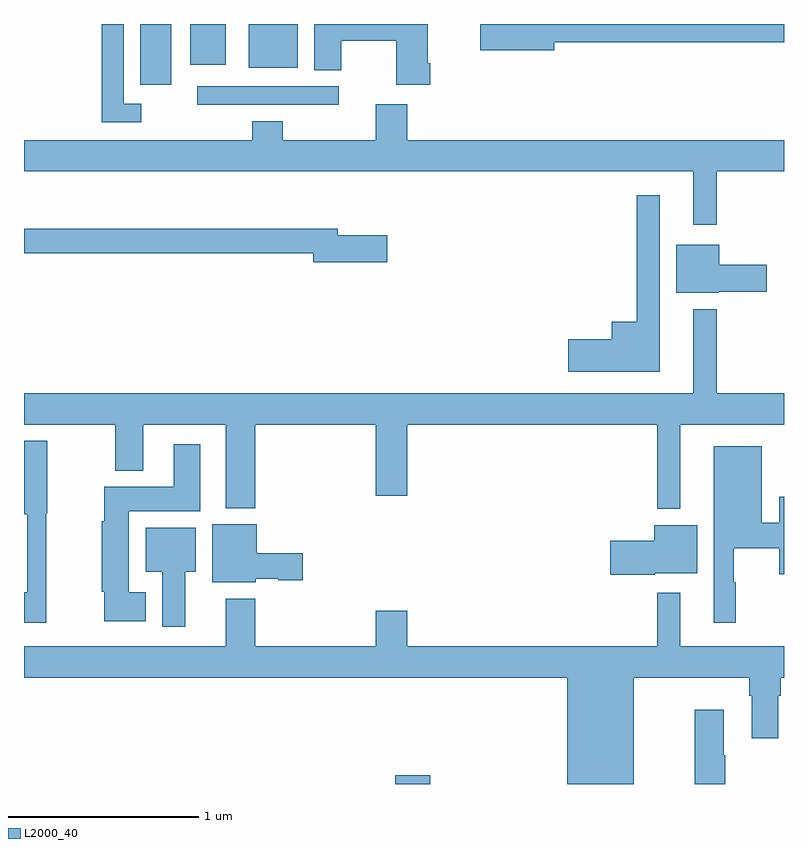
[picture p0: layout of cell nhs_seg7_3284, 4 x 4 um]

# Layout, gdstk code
import gdstk
lib = gdstk.Library(unit=1e-6, precision=1e-09)
def R(c, l, rs):  # rectangles x0, y0, x1, y1
    for r in rs: c.add(gdstk.rectangle(r[:2], r[2:], *l))
def P(c, l, *ps):  # polygons
    for p in ps: c.add(gdstk.Polygon(p, *l))
L2000_40 = (2000, 40)

nhs_seg7_3284 = lib.new_cell('nhs_seg7_3284')
R(nhs_seg7_3284, L2000_40, [(320.954,1056,321.137,1056.046), (319.911,1059.576,320.656,1059.672), (319.613,1059.681,319.774,1060), (320.183,1059.77,320.44,1060), (319.874,1059.785,320.062,1060)])
P(nhs_seg7_3284, L2000_40, [(319.618,1059.579),(319.524,1059.579),(319.524,1060),(319.408,1060),(319.408,1059.483),(319.618,1059.483)],
  [(321.137,1059.793),(321.124,1059.793),(321.124,1060),(320.528,1060),(320.528,1059.757),(320.67,1059.757),(320.67,1059.912),(320.959,1059.912),(320.959,1059.681),(321.137,1059.681)],
  [(321.79,1059.904),(323,1059.904),(323,1060),(321.402,1060),(321.402,1059.862),(321.79,1059.862)],
  [(322.645,1059.224),(323,1059.224),(323,1059.388),(321.016,1059.388),(321.016,1059.577),(320.852,1059.577),(320.852,1059.388),(320.361,1059.388),(320.361,1059.487),(320.201,1059.487),(320.201,1059.388),(319,1059.388),(319,1059.224),(322.523,1059.224),(322.523,1058.943),(322.645,1058.943)],
  [(322.345,1059.1),(322.224,1059.1),(322.224,1058.434),(322.094,1058.434),(322.094,1058.342),(321.864,1058.342),(321.864,1058.171),(322.345,1058.171)],
  [(320.911,1058.889),(320.65,1058.889),(320.65,1058.923),(319,1058.923),(319,1058.794),(320.522,1058.794),(320.522,1058.747),(320.911,1058.747)],
  [(322.656,1058.591),(322.909,1058.591),(322.909,1058.733),(322.66,1058.733),(322.66,1058.839),(322.433,1058.839),(322.433,1058.585),(322.656,1058.585)],
  [(322.453,1057.892),(323,1057.892),(323,1058.056),(322.645,1058.056),(322.645,1058.5),(322.523,1058.5),(322.523,1058.056),(319,1058.056),(319,1057.892),(319.48,1057.892),(319.48,1057.649),(319.627,1057.649),(319.627,1057.892),(320.063,1057.892),(320.063,1057.451),(320.216,1057.451),(320.216,1057.892),(320.852,1057.892),(320.852,1057.518),(321.016,1057.518),(321.016,1057.892),(322.332,1057.892),(322.332,1057.448),(322.453,1057.448)],
  [(319.118,1057.425),(319.122,1057.425),(319.122,1057.807),(319,1057.807),(319,1057.421),(319.017,1057.421),(319.017,1057.009),(319,1057.009),(319,1056.849),(319.118,1056.849)],
  [(319.642,1057.009),(319.552,1057.009),(319.552,1057.436),(319.927,1057.436),(319.927,1057.789),(319.787,1057.789),(319.787,1057.564),(319.423,1057.564),(319.423,1057.383),(319.409,1057.383),(319.409,1057.011),(319.423,1057.011),(319.423,1056.857),(319.642,1056.857)],
  [(322.745,1057.062),(322.735,1057.062),(322.735,1057.24),(322.976,1057.24),(322.976,1057.103),(323,1057.103),(323,1057.513),(322.976,1057.513),(322.976,1057.376),(322.882,1057.376),(322.882,1057.777),(322.631,1057.777),(322.631,1056.849),(322.745,1056.849)],
  [(320.22,1057.079),(320.337,1057.079),(320.337,1057.072),(320.467,1057.072),(320.467,1057.214),(320.224,1057.214),(320.224,1057.366),(319.991,1057.366),(319.991,1057.061),(320.22,1057.061)],
  [(322.32,1057.109),(322.543,1057.109),(322.543,1057.363),(322.316,1057.363),(322.316,1057.28),(322.086,1057.28),(322.086,1057.102),(322.32,1057.102)],
  [(319.849,1057.118),(319.903,1057.118),(319.903,1057.348),(319.64,1057.348),(319.64,1057.118),(319.727,1057.118),(319.727,1056.828),(319.849,1056.828)],
  [(322.21,1056.56),(322.817,1056.56),(322.817,1056.464),(322.829,1056.464),(322.829,1056.24),(322.969,1056.24),(322.969,1056.464),(322.982,1056.464),(322.982,1056.56),(323,1056.56),(323,1056.724),(322.453,1056.724),(322.453,1057.006),(322.332,1057.006),(322.332,1056.724),(321.016,1056.724),(321.016,1056.913),(320.852,1056.913),(320.852,1056.724),(320.216,1056.724),(320.216,1056.976),(320.063,1056.976),(320.063,1056.724),(319,1056.724),(319,1056.56),(321.86,1056.56),(321.86,1056),(322.21,1056)],
  [(322.692,1056.152),(322.684,1056.152),(322.684,1056.391),(322.531,1056.391),(322.531,1056),(322.692,1056)])

lib.write_gds('nhs_seg7_3284.gds')
